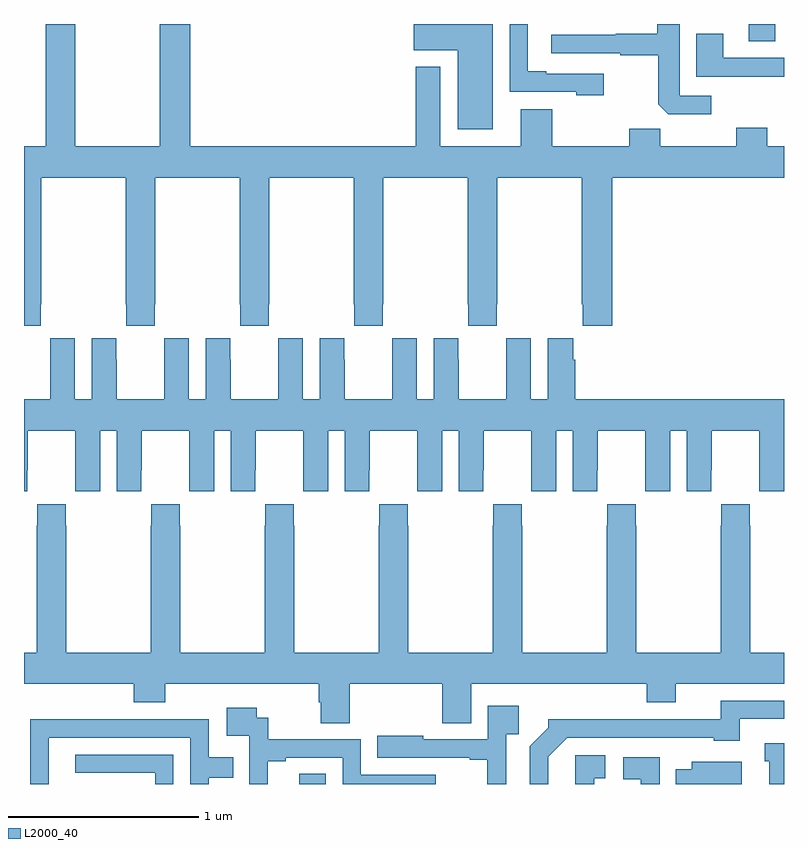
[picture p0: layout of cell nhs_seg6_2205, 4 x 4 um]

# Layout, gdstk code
import gdstk
lib = gdstk.Library(unit=1e-6, precision=1e-09)
def R(c, l, rs):  # rectangles x0, y0, x1, y1
    for r in rs: c.add(gdstk.rectangle(r[:2], r[2:], *l))
def P(c, l, *ps):  # polygons
    for p in ps: c.add(gdstk.Polygon(p, *l))
L2000_40 = (2000, 40)

nhs_seg6_2205 = lib.new_cell('nhs_seg6_2205')
R(nhs_seg6_2205, L2000_40, [(244.448,921.5,244.588,921.554), (246.815,925.408,246.955,925.5)])
P(nhs_seg6_2205, L2000_40, [(245.467,925.5),(245.052,925.5),(245.052,925.361),(245.282,925.361),(245.282,924.947),(245.467,924.947)],
  [(246.052,925.239),(245.749,925.239),(245.749,925.252),(245.652,925.252),(245.652,925.5),(245.556,925.5),(245.556,925.143),(245.907,925.143),(245.907,925.124),(246.052,925.124)],
  [(246.616,925.122),(246.45,925.122),(246.45,925.5),(246.334,925.5),(246.334,925.448),(246.115,925.448),(246.115,925.444),(245.775,925.444),(245.775,925.347),(246.139,925.347),(246.139,925.335),(246.339,925.335),(246.339,925.077),(246.391,925.026),(246.616,925.026)],
  [(243.087,924.025),(243.09,924.025),(243.09,924.692),(243.535,924.692),(243.535,924.025),(243.537,924.025),(243.537,923.913),(243.687,923.913),(243.687,924.025),(243.69,924.025),(243.69,924.692),(244.135,924.692),(244.135,924.025),(244.137,924.025),(244.137,923.913),(244.287,923.913),(244.287,924.025),(244.29,924.025),(244.29,924.692),(244.735,924.692),(244.735,924.025),(244.737,924.025),(244.737,923.913),(244.887,923.913),(244.887,924.025),(244.89,924.025),(244.89,924.692),(245.335,924.692),(245.335,924.025),(245.337,924.025),(245.337,923.913),(245.487,923.913),(245.487,924.025),(245.49,924.025),(245.49,924.692),(245.935,924.692),(245.935,924.025),(245.941,924.025),(245.941,923.913),(246.095,923.913),(246.095,924.692),(247,924.692),(247,924.856),(246.913,924.856),(246.913,924.955),(246.749,924.955),(246.749,924.856),(246.349,924.856),(246.349,924.949),(246.185,924.949),(246.185,924.856),(245.779,924.856),(245.779,925.051),(245.615,925.051),(245.615,924.856),(245.191,924.856),(245.191,925.276),(245.063,925.276),(245.063,924.856),(243.875,924.856),(243.875,925.5),(243.715,925.5),(243.715,924.856),(243.27,924.856),(243.27,925.5),(243.115,925.5),(243.115,924.856),(243,924.856),(243,923.913),(243.087,923.913)],
  [(247,925.323),(246.679,925.323),(246.679,925.448),(246.539,925.448),(246.539,925.222),(247,925.222)],
  [(244,923.36),(244.088,923.36),(244.088,923.04),(244.218,923.04),(244.218,923.152),(244.219,923.152),(244.219,923.36),(244.469,923.36),(244.469,923.152),(244.47,923.152),(244.47,923.04),(244.6,923.04),(244.6,923.36),(244.688,923.36),(244.688,923.04),(244.818,923.04),(244.818,923.152),(244.819,923.152),(244.819,923.36),(245.069,923.36),(245.069,923.152),(245.07,923.152),(245.07,923.04),(245.2,923.04),(245.2,923.36),(245.288,923.36),(245.288,923.04),(245.418,923.04),(245.418,923.152),(245.419,923.152),(245.419,923.36),(245.669,923.36),(245.669,923.152),(245.67,923.152),(245.67,923.04),(245.8,923.04),(245.8,923.36),(245.888,923.36),(245.888,923.04),(246.018,923.04),(246.018,923.152),(246.019,923.152),(246.019,923.36),(246.269,923.36),(246.269,923.152),(246.27,923.152),(246.27,923.04),(246.4,923.04),(246.4,923.36),(246.488,923.36),(246.488,923.04),(246.618,923.04),(246.618,923.152),(246.619,923.152),(246.619,923.36),(246.869,923.36),(246.869,923.152),(246.87,923.152),(246.87,923.04),(247,923.04),(247,923.524),(245.9,923.524),(245.9,923.732),(245.89,923.732),(245.89,923.845),(245.756,923.845),(245.756,923.524),(245.668,923.524),(245.668,923.845),(245.538,923.845),(245.538,923.732),(245.537,923.732),(245.537,923.524),(245.287,923.524),(245.287,923.732),(245.286,923.732),(245.286,923.845),(245.156,923.845),(245.156,923.524),(245.068,923.524),(245.068,923.845),(244.938,923.845),(244.938,923.732),(244.937,923.732),(244.937,923.524),(244.687,923.524),(244.687,923.732),(244.686,923.732),(244.686,923.845),(244.556,923.845),(244.556,923.524),(244.468,923.524),(244.468,923.845),(244.338,923.845),(244.338,923.732),(244.337,923.732),(244.337,923.524),(244.087,923.524),(244.087,923.732),(244.086,923.732),(244.086,923.845),(243.956,923.845),(243.956,923.524),(243.868,923.524),(243.868,923.845),(243.738,923.845),(243.738,923.732),(243.737,923.732),(243.737,923.524),(243.487,923.524),(243.487,923.732),(243.486,923.732),(243.486,923.845),(243.356,923.845),(243.356,923.524),(243.268,923.524),(243.268,923.845),(243.138,923.845),(243.138,923.732),(243.137,923.732),(243.137,923.524),(243,923.524),(243,923.04),(243.018,923.04),(243.018,923.152),(243.019,923.152),(243.019,923.36),(243.269,923.36),(243.269,923.152),(243.27,923.152),(243.27,923.04),(243.4,923.04),(243.4,923.36),(243.488,923.36),(243.488,923.04),(243.618,923.04),(243.618,923.152),(243.619,923.152),(243.619,923.36),(243.869,923.36),(243.869,923.152),(243.87,923.152),(243.87,923.04),(244,923.04)],
  [(246.222,922.859),(246.219,922.859),(246.219,922.972),(246.069,922.972),(246.069,922.859),(246.067,922.859),(246.067,922.192),(245.622,922.192),(245.622,922.859),(245.619,922.859),(245.619,922.972),(245.469,922.972),(245.469,922.859),(245.467,922.859),(245.467,922.192),(245.022,922.192),(245.022,922.859),(245.019,922.859),(245.019,922.972),(244.869,922.972),(244.869,922.859),(244.867,922.859),(244.867,922.192),(244.422,922.192),(244.422,922.859),(244.419,922.859),(244.419,922.972),(244.269,922.972),(244.269,922.859),(244.267,922.859),(244.267,922.192),(243.822,922.192),(243.822,922.859),(243.819,922.859),(243.819,922.972),(243.669,922.972),(243.669,922.859),(243.667,922.859),(243.667,922.192),(243.222,922.192),(243.222,922.859),(243.219,922.859),(243.219,922.972),(243.069,922.972),(243.069,922.859),(243.067,922.859),(243.067,922.192),(243,922.192),(243,922.028),(243.578,922.028),(243.578,921.929),(243.743,921.929),(243.743,922.028),(244.55,922.028),(244.55,921.93),(244.562,921.93),(244.562,921.82),(244.715,921.82),(244.715,922.028),(245.201,922.028),(245.201,921.82),(245.353,921.82),(245.353,922.028),(246.278,922.028),(246.278,921.929),(246.43,921.929),(246.43,922.028),(247,922.028),(247,922.192),(246.822,922.192),(246.822,922.859),(246.819,922.859),(246.819,922.972),(246.669,922.972),(246.669,922.859),(246.667,922.859),(246.667,922.192),(246.222,922.192)],
  [(245.758,921.643),(245.859,921.744),(246.63,921.744),(246.63,921.728),(246.766,921.728),(246.766,921.843),(247,921.843),(247,921.939),(246.667,921.939),(246.667,921.84),(246.194,921.84),(246.194,921.842),(245.76,921.842),(245.76,921.797),(245.661,921.698),(245.661,921.5),(245.758,921.5)],
  [(245.538,921.761),(245.603,921.761),(245.603,921.913),(245.442,921.913),(245.442,921.735),(245.101,921.735),(245.101,921.754),(244.858,921.754),(244.858,921.639),(245.345,921.639),(245.345,921.627),(245.437,921.627),(245.437,921.5),(245.538,921.5)],
  [(244.282,921.619),(244.378,921.619),(244.378,921.639),(244.677,921.639),(244.677,921.5),(245.168,921.5),(245.168,921.549),(244.773,921.549),(244.773,921.735),(244.286,921.735),(244.286,921.849),(244.224,921.849),(244.224,921.901),(244.068,921.901),(244.068,921.753),(244.185,921.753),(244.185,921.5),(244.282,921.5)],
  [(243.129,921.744),(243.876,921.744),(243.876,921.5),(243.973,921.5),(243.973,921.534),(244.1,921.534),(244.1,921.642),(243.972,921.642),(243.972,921.84),(243.494,921.84),(243.494,921.842),(243.032,921.842),(243.032,921.538),(243.033,921.538),(243.033,921.5),(243.129,921.5)],
  [(247,921.715),(246.899,921.715),(246.899,921.621),(246.923,921.621),(246.923,921.5),(247,921.5)],
  [(243.786,921.654),(243.27,921.654),(243.27,921.558),(243.69,921.558),(243.69,921.5),(243.786,921.5)],
  [(246,921.531),(246.058,921.531),(246.058,921.652),(245.9,921.652),(245.9,921.5),(246,921.5)],
  [(246.345,921.642),(246.153,921.642),(246.153,921.526),(246.247,921.526),(246.247,921.5),(246.345,921.5)],
  [(246.778,921.616),(246.515,921.616),(246.515,921.577),(246.43,921.577),(246.43,921.5),(246.778,921.5)])

lib.write_gds('nhs_seg6_2205.gds')
